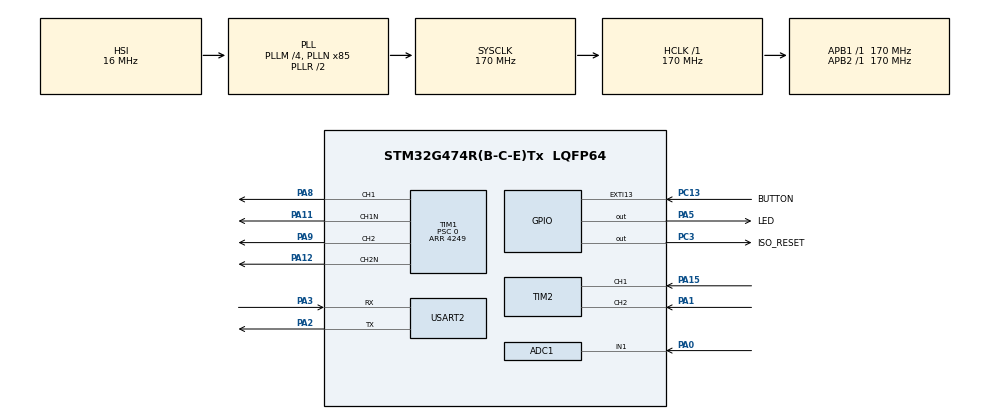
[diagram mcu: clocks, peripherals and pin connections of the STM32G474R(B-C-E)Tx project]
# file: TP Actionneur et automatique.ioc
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ADC1.Channel-0\#ChannelRegularConversion=ADC_CHANNEL_1
ADC1.NbrOfConversionFlag=1
ADC1.OffsetNumber-0\#ChannelRegularConversion=ADC_OFFSET_NONE
ADC1.OversamplingMode=DISABLE
ADC1.Rank-0\#ChannelRegularConversion=1
ADC1.SamplingTime-0\#ChannelRegularConversion=ADC_SAMPLETIME_12CYCLES_5
ADC1.master=1
Dma.ADC1.0.Direction=DMA_PERIPH_TO_MEMORY
Dma.ADC1.0.EventEnable=DISABLE
Dma.ADC1.0.Instance=DMA1_Channel1
Dma.ADC1.0.MemDataAlignment=DMA_MDATAALIGN_HALFWORD
Dma.ADC1.0.MemInc=DMA_MINC_ENABLE
Dma.ADC1.0.Mode=DMA_NORMAL
Dma.ADC1.0.PeriphDataAlignment=DMA_PDATAALIGN_HALFWORD
Dma.ADC1.0.PeriphInc=DMA_PINC_DISABLE
Dma.ADC1.0.Polarity=HAL_DMAMUX_REQ_GEN_RISING
Dma.ADC1.0.Priority=DMA_PRIORITY_LOW
Dma.ADC1.0.RequestNumber=1
Dma.ADC1.0.SignalID=NONE
Dma.ADC1.0.SyncEnable=DISABLE
Dma.ADC1.0.SyncPolarity=HAL_DMAMUX_SYNC_NO_EVENT
Dma.ADC1.0.SyncRequestNumber=1
Dma.ADC1.0.SyncSignalID=NONE
Dma.Request0=ADC1
Mcu.Family=STM32G4
Mcu.Name=STM32G474R(B-C-E)Tx
Mcu.Package=LQFP64
NVIC.ADC1_2_IRQn=true\:0\:0\:false\:false\:true\:true\:true\:true
NVIC.DMA1_Channel1_IRQn=true\:0\:0\:false\:false\:true\:false\:true\:true
NVIC.EXTI15_10_IRQn=true\:0\:0\:false\:false\:true\:true\:true\:true
NVIC.PriorityGroup=NVIC_PRIORITYGROUP_4
NVIC.TIM1_UP_TIM16_IRQn=true\:0\:0\:false\:false\:true\:true\:true\:true
NVIC.TIM6_DAC_IRQn=true\:0\:0\:false\:false\:true\:true\:true\:true
NVIC.TIM7_DAC_IRQn=true\:0\:0\:false\:false\:true\:true\:true\:true
NVIC.TIM8_UP_IRQn=true\:0\:0\:false\:false\:true\:true\:true\:true
NVIC.USART2_IRQn=true\:0\:0\:false\:false\:true\:true\:true\:true
PA0.Mode=IN1-Single-Ended
PA0.Signal=ADC1_IN1
PA1.Signal=S_TIM2_CH2
PA11.Mode=PWM Generation1 CH1 CH1N
PA11.Signal=TIM1_CH1N
PA12.Mode=PWM Generation2 CH2 CH2N
PA12.Signal=TIM1_CH2N
PA13.GPIO_Label=T_SWDIO
PA13.Mode=Serial_Wire
PA13.Signal=SYS_JTMS-SWDIO
PA14.GPIO_Label=T_SWCLK
PA14.Mode=Serial_Wire
PA14.Signal=SYS_JTCK-SWCLK
PA15.Signal=S_TIM2_CH1
PA2.Mode=Asynchronous
PA2.Signal=USART2_TX
PA3.Mode=Asynchronous
PA3.Signal=USART2_RX
PA5.GPIO_Label=LED
PA5.Signal=GPIO_Output
PA8.Signal=S_TIM1_CH1
PA9.Signal=S_TIM1_CH2
PB3.GPIO_Label=T_SWO
PB3.Signal=SYS_JTDO-SWO
PC13.GPIO_Label=BUTTON
PC13.Signal=GPXTI13
PC14-OSC32_IN.Mode=LSE-External-Oscillator
PC14-OSC32_IN.Signal=RCC_OSC32_IN
PC15-OSC32_OUT.Mode=LSE-External-Oscillator
PC15-OSC32_OUT.Signal=RCC_OSC32_OUT
PC3.GPIO_Label=ISO_RESET
PC3.Signal=GPIO_Output
PF0-OSC_IN.Mode=HSE-External-Oscillator
PF0-OSC_IN.Signal=RCC_OSC_IN
PF1-OSC_OUT.Mode=HSE-External-Oscillator
PF1-OSC_OUT.Signal=RCC_OSC_OUT
ProjectManager.HeapSize=0x200
ProjectManager.StackSize=0x400
ProjectManager.TargetToolchain=STM32CubeIDE
RCC.ADC12Freq_Value=170000000
RCC.ADC345Freq_Value=170000000
RCC.AHBFreq_Value=170000000
RCC.APB1Freq_Value=170000000
RCC.APB1TimFreq_Value=170000000
RCC.APB2Freq_Value=170000000
RCC.APB2TimFreq_Value=170000000
RCC.CortexFreq_Value=170000000
RCC.EXTERNAL_CLOCK_VALUE=12288000
RCC.HCLKFreq_Value=170000000
RCC.HSE_VALUE=24000000
RCC.HSI48_VALUE=48000000
RCC.HSI_VALUE=16000000
RCC.PLLM=RCC_PLLM_DIV4
RCC.PLLN=85
RCC.RTCClockSelection=RCC_RTCCLKSOURCE_LSE
RCC.SYSCLKFreq_VALUE=170000000
RCC.SYSCLKSource=RCC_SYSCLKSOURCE_PLLCLK
RCC.USBFreq_Value=170000000
RCC.VCOOutputFreq_Value=340000000
SH.S_TIM1_CH1.0=TIM1_CH1,PWM Generation1 CH1 CH1N
SH.S_TIM1_CH2.0=TIM1_CH2,PWM Generation2 CH2 CH2N
SH.S_TIM2_CH1.0=TIM2_CH1,Encoder_Interface
SH.S_TIM2_CH2.0=TIM2_CH2,Encoder_Interface
TIM1.AutoReloadPreload=TIM_AUTORELOAD_PRELOAD_ENABLE
TIM1.Channel-PWM\ Generation1\ CH1\ CH1N=TIM_CHANNEL_1
TIM1.Channel-PWM\ Generation2\ CH2\ CH2N=TIM_CHANNEL_2
TIM1.CounterMode=TIM_COUNTERMODE_CENTERALIGNED1
TIM1.DeadTime=34
TIM1.OCIdleState_2=TIM_OCIDLESTATE_SET
TIM1.OCMode_PWM-PWM\ Generation1\ CH1\ CH1N=TIM_OCMODE_PWM1
TIM1.OCMode_PWM-PWM\ Generation2\ CH2\ CH2N=TIM_OCMODE_PWM1
TIM1.OCNIdleState_1=TIM_OCNIDLESTATE_SET
TIM1.OCNIdleState_2=TIM_OCNIDLESTATE_RESET
TIM1.OCNPolarity_2=TIM_OCNPOLARITY_HIGH
TIM1.OCPolarity_2=TIM_OCPOLARITY_HIGH
TIM1.PeriodNoDither=4249
TIM1.Prescaler=0
TIM1.PulseNoDither_1=637
TIM1.PulseNoDither_2=637
TIM2.AutoReloadPreload=TIM_AUTORELOAD_PRELOAD_ENABLE
TIM6.PeriodNoDither=1000-1
TIM6.Prescaler=1700-1
TIM7.AutoReloadPreload=TIM_AUTORELOAD_PRELOAD_ENABLE
TIM7.PeriodNoDither=24
TIM7.Prescaler=16
TIM8.PeriodNoDither=10000-1
TIM8.Prescaler=1700-1
USART2.VirtualMode-Asynchronous=VM_ASYNC
VP_SYS_VS_DBSignals.Mode=DisableDeadBatterySignals
VP_TIM1_VS_ClockSourceINT.Mode=Internal
VP_TIM6_VS_ClockSourceINT.Mode=Enable_Timer
VP_TIM7_VS_ClockSourceINT.Mode=Enable_Timer
VP_TIM8_VS_ClockSourceINT.Mode=Internal
board=NUCLEO-G474RE

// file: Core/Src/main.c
/* USER CODE BEGIN Header */
/**
 ******************************************************************************
 * @file           : main.c
 * @brief          : Main program body
 * @authors        : CHAIR / AMEUR
 ******************************************************************************
 * @attention
 *
 * Copyright (c) 2022 STMicroelectronics.
 * All rights reserved.
 *
 * This software is licensed under terms that can be found in the LICENSE file
 * in the root directory of this software component.
 * If no LICENSE file comes with this software, it is provided AS-IS.
 *
 ******************************************************************************
 */
/* USER CODE END Header */
#include "main.h"
#include "adc.h"
#include "dma.h"
#include "tim.h"
#include "usart.h"
#include "gpio.h"

/* USER CODE BEGIN Includes */
#include "shell.h"
#include "pwm.h"
#include <string.h>
/* USER CODE END Includes */

/* USER CODE BEGIN PV */
extern TIM_HandleTypeDef htim1;
extern ADC_HandleTypeDef hadc1;
uint8_t newline[] = "\r\n";

uint32_t uartRxReceived;
uint8_t uartRxBuffer[UART_RX_BUFFER_SIZE];
uint8_t uartTxBuffer[UART_TX_BUFFER_SIZE];
uint8_t alpha_now = 60;
uint8_t alpha_dest = 60;
float vitesse_encod = 0;
float current_v = 0.0;
float offset_current = 0.0;  // Initialiser à 0
uint32_t adc_value = 0;      // Définition de adc_value

#define ADC_BUFFER_SIZE 100         // Taille du buffer pour les mesures continues
#define ADC_OFFSET_SAMPLES 100      // Nombre d'échantillons pour calculer l'offset

uint16_t adc_buffer[ADC_BUFFER_SIZE];
uint16_t adc_offset_buffer[ADC_OFFSET_SAMPLES];

volatile uint8_t offset_calculated = 0;  // Indicateur pour savoir si l'offset est calculé

//float offset_current=2.5268;

/* USER CODE END PV */

void SystemClock_Config(void);

int main(void)
{

	/* USER CODE BEGIN 1 */
	char	 	cmdBuffer[CMD_BUFFER_SIZE];
	int 		idx_cmd;
	int 		newCmdReady = 0;
	/* USER CODE END 1 */

	/* MCU Configuration--------------------------------------------------------*/

	/* Reset of all peripherals, Initializes the Flash interface and the Systick. */
	HAL_Init();

	/* Configure the system clock */
	SystemClock_Config();

	/* Initialize all configured peripherals */
	MX_GPIO_Init();
	MX_DMA_Init();
	MX_TIM1_Init();
	MX_USART2_UART_Init();
	MX_TIM7_Init();
	MX_TIM6_Init();
	MX_ADC1_Init();
	MX_TIM2_Init();
	MX_TIM8_Init();
	/* USER CODE BEGIN 2 */
	memset(cmdBuffer,NULL,CMD_BUFFER_SIZE*sizeof(char));
	memset(uartRxBuffer,NULL,UART_RX_BUFFER_SIZE*sizeof(char));
	memset(uartTxBuffer,NULL,UART_TX_BUFFER_SIZE*sizeof(char));
	//start_command(alpha);
	/*HAL_ADCEx_Calibration_Start(&hadc1, ADC_SINGLE_ENDED);
	int cpt=0;
	for (cpt=0;cpt<10;cpt++)
	{
		HAL_ADC_Start(&hadc1);
		HAL_ADC_PollForConversion(&hadc1, HAL_MAX_DELAY);
		adc_value+=HAL_ADC_GetValue(&hadc1);
	}
	HAL_ADC_Stop(&hadc1);
	adc_value=adc_value/10;
	offset_current=(((adc_value)/4096.0)*3.3);
	adc_value=0; */

    /* Calibration de l'ADC */
    HAL_ADCEx_Calibration_Start(&hadc1, ADC_SINGLE_ENDED);

    /* Démarrer l'ADC en mode DMA pour l'offset */
    if (HAL_ADC_Start_DMA(&hadc1, (uint32_t*)adc_offset_buffer, ADC_OFFSET_SAMPLES) != HAL_OK)
    {
        /* Gestion des erreurs */
        Error_Handler();
    }

    /* Attendre que le DMA ait rempli le buffer pour l'offset */
    while (!offset_calculated)
    {
        // Vous pouvez ajouter un timeout si nécessaire
    }

    /* Arrêter l'ADC DMA pour l'offset */
    HAL_ADC_Stop_DMA(&hadc1);

    /* Afficher l'offset calculé (optionnel) */
    char offset_msg[50];
    sprintf(offset_msg, "Offset = %f V\r\n", offset_current);
    HAL_UART_Transmit(&huart2, (uint8_t*)offset_msg, strlen(offset_msg), HAL_MAX_DELAY);

    /* Maintenant, démarrer l'ADC en DMA pour les mesures continues */
    if (HAL_ADC_Start_DMA(&hadc1, (uint32_t*)adc_buffer, ADC_BUFFER_SIZE) != HAL_OK)
    {
        /* Gestion des erreurs */
        Error_Handler();
    }

    HAL_UART_Receive_IT(&huart2, uartRxBuffer, UART_RX_BUFFER_SIZE);
    HAL_Delay(10);
    start_display();
    prompt_display();

    /* USER CODE END 2 */

	/* Infinite loop */
	/* USER CODE BEGIN WHILE */
	while (1)
	{
		// uartRxReceived is set to 1 when a new character is received on uart 1
		if(uartRxReceived){
			switch(uartRxBuffer[0]){
			// Nouvelle ligne, instruction à traiter
			case ASCII_CR:
				HAL_UART_Transmit(&huart2, newline, sizeof(newline), HAL_MAX_DELAY);
				cmdBuffer[idx_cmd] = '\0';

				idx_cmd = 0;
				newCmdReady = 1;
				break;
				// Suppression du dernier caractère
			case ASCII_DEL:
				cmdBuffer[idx_cmd--] = 0;
				//idx_cmd--;
				HAL_UART_Transmit(&huart2, uartRxBuffer, UART_RX_BUFFER_SIZE, HAL_MAX_DELAY);
				break;
				// Nouveau caractère
			default:
				cmdBuffer[idx_cmd++] = uartRxBuffer[0];
				HAL_UART_Transmit(&huart2, uartRxBuffer, UART_RX_BUFFER_SIZE, HAL_MAX_DELAY);
			}
			uartRxReceived = 0;
		}

		shell(&newCmdReady,cmdBuffer);

		/* USER CODE END WHILE */

	}
}

void SystemClock_Config(void)
{
	RCC_OscInitTypeDef RCC_OscInitStruct = {0};
	RCC_ClkInitTypeDef RCC_ClkInitStruct = {0};

	/** Configure the main internal regulator output voltage
	 */
	HAL_PWREx_ControlVoltageScaling(PWR_REGULATOR_VOLTAGE_SCALE1_BOOST);

	/** Initializes the RCC Oscillators according to the specified parameters
	 * in the RCC_OscInitTypeDef structure.
	 */
	RCC_OscInitStruct.OscillatorType = RCC_OSCILLATORTYPE_HSI;
	RCC_OscInitStruct.HSIState = RCC_HSI_ON;
	RCC_OscInitStruct.HSICalibrationValue = RCC_HSICALIBRATION_DEFAULT;
	RCC_OscInitStruct.PLL.PLLState = RCC_PLL_ON;
	RCC_OscInitStruct.PLL.PLLSource = RCC_PLLSOURCE_HSI;
	RCC_OscInitStruct.PLL.PLLM = RCC_PLLM_DIV4;
	RCC_OscInitStruct.PLL.PLLN = 85;
	RCC_OscInitStruct.PLL.PLLP = RCC_PLLP_DIV2;
	RCC_OscInitStruct.PLL.PLLQ = RCC_PLLQ_DIV2;
	RCC_OscInitStruct.PLL.PLLR = RCC_PLLR_DIV2;
	if (HAL_RCC_OscConfig(&RCC_OscInitStruct) != HAL_OK)
	{
		Error_Handler();
	}

	/** Initializes the CPU, AHB and APB buses clocks
	 */
	RCC_ClkInitStruct.ClockType = RCC_CLOCKTYPE_HCLK|RCC_CLOCKTYPE_SYSCLK
			|RCC_CLOCKTYPE_PCLK1|RCC_CLOCKTYPE_PCLK2;
	RCC_ClkInitStruct.SYSCLKSource = RCC_SYSCLKSOURCE_PLLCLK;
	RCC_ClkInitStruct.AHBCLKDivider = RCC_SYSCLK_DIV1;
	RCC_ClkInitStruct.APB1CLKDivider = RCC_HCLK_DIV1;
	RCC_ClkInitStruct.APB2CLKDivider = RCC_HCLK_DIV1;

	if (HAL_RCC_ClockConfig(&RCC_ClkInitStruct, FLASH_LATENCY_4) != HAL_OK)
	{
		Error_Handler();
	}
}

/* USER CODE BEGIN 4 */
void HAL_UART_RxCpltCallback(UART_HandleTypeDef* huart)
{
    uartRxReceived = 1;
    HAL_UART_Receive_IT(&huart2, uartRxBuffer, UART_RX_BUFFER_SIZE);
}

/* Callback appelé lorsque le buffer entier est rempli */
void HAL_ADC_ConvCpltCallback(ADC_HandleTypeDef* hadc)
{
    if (hadc->Instance == ADC1)
    {
        if (!offset_calculated)
        {
            // Calculer l'offset du courant
            Process_ADC_Offset_Data(adc_offset_buffer, ADC_OFFSET_SAMPLES);
            offset_calculated = 1;  // Indiquer que l'offset est calculé
        }
        else
        {
            // Traiter la seconde moitié du buffer ADC
            Process_ADC_Data(&adc_buffer[ADC_BUFFER_SIZE / 2], ADC_BUFFER_SIZE / 2);
        }
    }
}

/* Callback appelé lorsque la moitié du buffer est remplie */
void HAL_ADC_ConvHalfCpltCallback(ADC_HandleTypeDef* hadc)
{
    if (hadc->Instance == ADC1 && offset_calculated)
    {
        // Traiter la première moitié du buffer ADC
        Process_ADC_Data(adc_buffer, ADC_BUFFER_SIZE / 2);
    }
}

/* Fonction pour calculer l'offset du courant */
void Process_ADC_Offset_Data(uint16_t* data, uint16_t length)
{
    uint32_t sum = 0;
    for (uint16_t i = 0; i < length; i++)
    {
        sum += data[i];
    }
    float average = sum / (float)length;
    offset_current = (average / 4096.0) * 3.3;
}

/* Fonction pour traiter les données ADC */
void Process_ADC_Data(uint16_t* data, uint16_t length)
{
    uint32_t sum = 0;
    for (uint16_t i = 0; i < length; i++)
    {
        sum += data[i];
    }
    float average = sum / (float)length;

    /* Convertir en tension */
    float voltage = (average / 4096.0) * 3.3;

    /* Calculer le courant en soustrayant l'offset */
    current_v = voltage - offset_current;

}
/* USER CODE END 4 */
void Error_Handler(void)
{
	__disable_irq();
	while (1)
	{
	}
}
